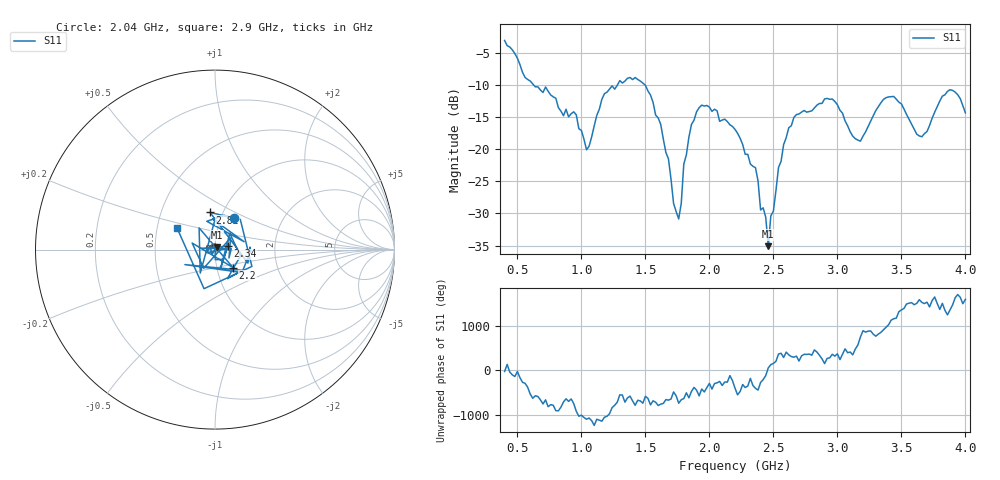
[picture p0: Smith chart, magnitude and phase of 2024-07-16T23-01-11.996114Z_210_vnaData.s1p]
!Created with skrf (http://scikit-rf.org).
# Hz S RI R 50.0
!freq ReS11 ImS11
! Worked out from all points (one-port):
!   181 points, 400 MHz to 4 GHz, reference 50 ohm
!   lowest |S11| = -35.1 dB at 2.46 GHz (marker M1), VSWR 1.04, Z = 51 + j1.43 ohm
!   |S11| at or under -10 dB: 625 MHz to 1.283 GHz (657.5 MHz wide, 68.9 % of centre); 1.495 GHz to end of sweep
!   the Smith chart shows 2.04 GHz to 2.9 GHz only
!   S11 on the Smith chart (normalised r, x): 2.04 GHz: 1.15, +0.42; 2.2 GHz: 1.20, -0.25; 2.34 GHz: 1.15, +0.04; 2.82 GHz: 0.87, +0.38; 2.9 GHz: 0.63, +0.17
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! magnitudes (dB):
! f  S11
! 400 MHz  -3.1
! 860 MHz  -14.8
! 960 MHz  -14.7
! 1.04 GHz  -20.1
! 1.18 GHz  -11.4
! 1.3 GHz  -9.4
! 1.54 GHz  -11.6
! 1.62 GHz  -16.2
! 1.76 GHz  -30.9
! 1.8 GHz  -22.3
! 1.86 GHz  -16.2
! 2.04 GHz  -13.8
! 2.2 GHz  -16.9
! 2.34 GHz  -22.7
! 2.4 GHz  -29.5
! 2.44 GHz  -30.6
! 2.46 GHz  -35.1
! 2.54 GHz  -22.9
! 2.66 GHz  -15.1
! 2.82 GHz  -13.6
! 2.9 GHz  -12.2
! 3.1 GHz  -17.3
! 3.18 GHz  -18.8
! 3.4 GHz  -11.9
! 3.56 GHz  -15.4
! 3.66 GHz  -18.1
! 3.88 GHz  -10.8
! 4 GHz  -14.4
